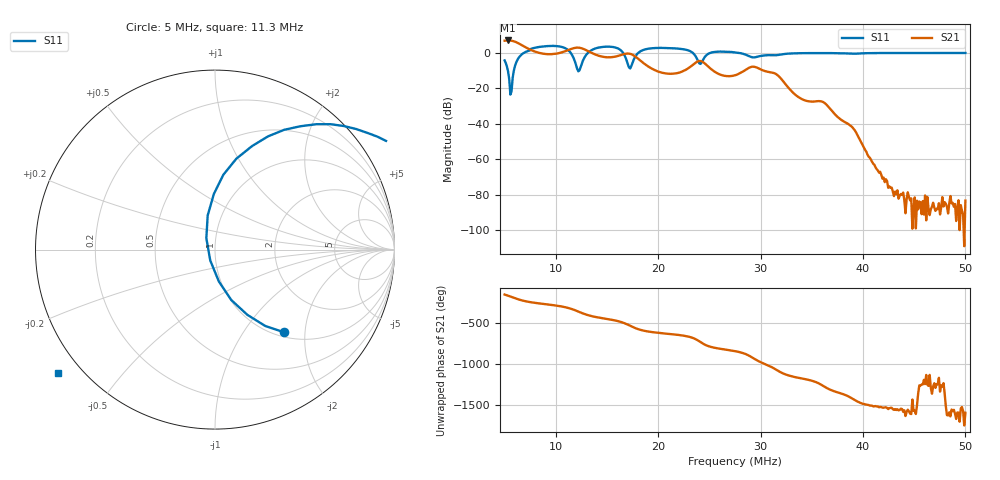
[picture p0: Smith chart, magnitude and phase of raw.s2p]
! S11/S21 only; reverse parameters are placeholders. Device calibration unverified.
! NanoVNA F V2 profile | COM3 | 2026-09-08T12:26:14.0595298-04:00 | device calibration unverified
# HZ S RI R 50
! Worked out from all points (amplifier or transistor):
!   401 points, 5 MHz to 50 MHz, reference 50 ohm
!   highest |S21| = 6.8 dB at 5.338 MHz (marker M1)
!   |S21| within 3 dB of that: start of sweep to 6.794 MHz
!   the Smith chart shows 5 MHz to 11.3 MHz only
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5000000  0.3867 -0.4614  -1.984 -0.8448  0 0  0 0
5337500  0.0913 -0.2816  -2.165 -0.357  0 0  0 0
6237500  0.2066 0.5768  -1.627 0.9785  0 0  0 0
7250000  0.9053 0.6291  -0.5884 1.175  0 0  0 0
7812500  0.541 -1.22  -0.2874 1.071  0 0  0 0
9725000  -0.1628 -1.535  0.2412 0.8792  0 0  0 0
1.14125e7  -0.8678 -0.5416  1.034 0.6801  0 0  0 0
1.25375e7  0.4176 0.2562  1.235 -0.4636  0 0  0 0
1.36625e7  1.087 -0.5963  0.4224 -0.8329  0 0  0 0
1.535e7  0.6001 -1.329  -0.134 -0.7274  0 0  0 0
1.68125e7  -0.5432 -0.4781  -0.8016 -0.4672  0 0  0 0
1.77125e7  0.5167 0.5137  -0.7406 0.2889  0 0  0 0
1.86125e7  1.205 0.0477  -0.2787 0.4071  0 0  0 0
2.0075e7  1.272 -0.4628  -0.0415 0.2848  0 0  0 0
2.39e7  0.3536 -0.4465  0.5673 0.0526  0 0  0 0
2.525e7  0.98 -0.2646  0.0854 -0.3183  0 0  0 0
2.75e7  0.8539 -0.5519  -0.1206 -0.1966  0 0  0 0
2.9975e7  0.717 -0.3551  -0.089 0.329  0 0  0 0
3.50375e7  0.7009 -0.666  -0.0226 -0.0353  0 0  0 0
3.8975e7  0.5336 -0.7593  0.00737 0.00278  0 0  0 0
4.2575e7  0.4442 -0.8673  -1.5e-05 -0.000173  0 0  0 0
5e7  0.1619 -0.9625  -6e-05 -3.4e-05  0 0  0 0
